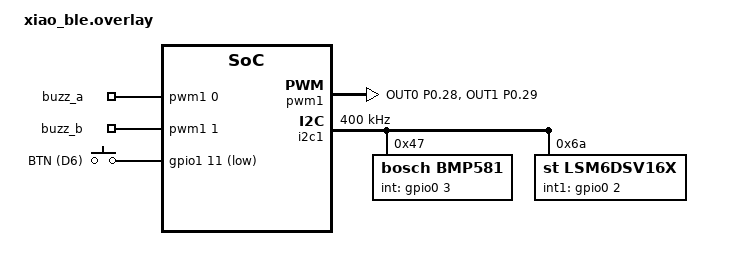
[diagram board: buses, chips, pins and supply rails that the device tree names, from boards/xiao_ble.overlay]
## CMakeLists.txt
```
cmake_minimum_required(VERSION 3.20.0)

find_package(Zephyr REQUIRED HINTS $ENV{ZEPHYR_BASE})
project(airio)

target_sources(app PRIVATE
  src/main.c
  src/vario.c
  src/tone.c
  src/beeper.c
)

if(CONFIG_ARCH_POSIX)
  # native_sim: synthetic flight instead of real sensors.
  target_sources(app PRIVATE src/baro_sim.c)
else()
  target_sources(app PRIVATE src/baro_bmp581.c src/imu.c)
endif()
```

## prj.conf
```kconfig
CONFIG_LOG=y
CONFIG_CBPRINTF_FP_SUPPORT=y
CONFIG_MAIN_STACK_SIZE=2048
```

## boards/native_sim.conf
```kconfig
# Synthetic baro uses rand().
CONFIG_REQUIRES_FULL_LIBC=y
```

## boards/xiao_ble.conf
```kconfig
CONFIG_FPU=y
CONFIG_I2C=y
CONFIG_SENSOR=y
CONFIG_PWM=y
# The LSM6DSV16X driver in Zephyr v4.4.2 fails to build when I2C_RTIO is on
# (the BMP581 driver selects it) but LSM6DSV16X_STREAM is off. Enabling the
# async sensor API turns streaming on, which we want for FIFO reads later.
CONFIG_SENSOR_ASYNC_API=y
```

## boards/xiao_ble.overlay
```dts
/*
 * airio v0 carrier board on a Seeed XIAO nRF52840.
 * Pin map: docs/airio-parts-and-pinmap.md
 */

#include <zephyr/dt-bindings/input/input-event-codes.h>
#include <zephyr/dt-bindings/sensor/bmp581.h>
#include <zephyr/dt-bindings/sensor/lsm6dsv16x.h>

/ {
	aliases {
		baro = &bmp581;
		imu = &lsm6dsv16x;
		sw0 = &btn;
	};

	zephyr,user {
		/* BZ1 between D2 and D3; B is inverted so the piezo sees 2x swing. */
		pwms = <&pwm1 0 PWM_HZ(1000) PWM_POLARITY_NORMAL>,
		       <&pwm1 1 PWM_HZ(1000) PWM_POLARITY_INVERTED>;
		pwm-names = "buzz_a", "buzz_b";
	};

	buttons {
		compatible = "gpio-keys";

		btn: btn {
			gpios = <&gpio1 11 (GPIO_PULL_UP | GPIO_ACTIVE_LOW)>;
			label = "BTN (D6)";
			zephyr,code = <INPUT_KEY_0>;
		};
	};
};

&pinctrl {
	pwm1_default: pwm1_default {
		group1 {
			psels = <NRF_PSEL(PWM_OUT0, 0, 28)>,
				<NRF_PSEL(PWM_OUT1, 0, 29)>;
		};
	};

	pwm1_sleep: pwm1_sleep {
		group1 {
			psels = <NRF_PSEL(PWM_OUT0, 0, 28)>,
				<NRF_PSEL(PWM_OUT1, 0, 29)>;
			low-power-enable;
		};
	};
};

&pwm1 {
	status = "okay";
	pinctrl-0 = <&pwm1_default>;
	pinctrl-1 = <&pwm1_sleep>;
	pinctrl-names = "default", "sleep";
};

/* D6 is the button, so the default UART on D6/D7 is off. Logs go over USB. */
&uart0 {
	status = "disabled";
};

/* D4 (SDA) / D5 (SCL) */
&i2c1 {
	clock-frequency = <I2C_BITRATE_FAST>;

	bmp581: bmp581@47 {
		compatible = "bosch,bmp581";
		reg = <0x47>;
		int-gpios = <&gpio0 3 GPIO_ACTIVE_HIGH>;
		odr = <BMP581_DT_ODR_50_HZ>;
		press-osr = <BMP581_DT_OVERSAMPLING_16X>;
		temp-osr = <BMP581_DT_OVERSAMPLING_2X>;
		press-iir = <BMP581_DT_IIR_FILTER_BYPASS>;
	};

	lsm6dsv16x: lsm6dsv16x@6a {
		compatible = "st,lsm6dsv16x";
		reg = <0x6a>;
		int1-gpios = <&gpio0 2 GPIO_ACTIVE_HIGH>;
		drdy-pin = <1>;
		accel-range = <LSM6DSV16X_DT_FS_4G>;
		accel-odr = <LSM6DSVXXX_DT_ODR_AT_60Hz>;
		gyro-range = <LSM6DSV16X_DT_FS_500DPS>;
		gyro-odr = <LSM6DSVXXX_DT_ODR_AT_60Hz>;
	};
};
```

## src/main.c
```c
/*
 * airio: small BLE vario on a Seeed XIAO nRF52840.
 *
 * v0 loop: read the baro at 50 Hz, run the climb-rate filter, and map the
 * climb rate to the beeper. The IMU is brought up but not fused yet.
 */

#include "baro.h"
#include "beeper.h"
#include "tone.h"
#include "vario.h"

#include <zephyr/kernel.h>
#include <zephyr/logging/log.h>

#if DT_NODE_EXISTS(DT_ALIAS(imu))
#include "imu.h"
#endif

LOG_MODULE_REGISTER(airio, LOG_LEVEL_INF);

#define SAMPLE_HZ      50
#define SAMPLE_PERIOD  K_MSEC(1000 / SAMPLE_HZ)
#define REPORT_EVERY   SAMPLE_HZ /* once a second */
#define WARMUP_SAMPLES (2 * SAMPLE_HZ) /* stay silent while the filter settles */

/* Filter tuning: about 0.3 m/s^2 of pilot vertical acceleration, 0.15 m baro noise. */
#define ACCEL_NOISE 0.3f
#define BARO_NOISE  0.15f

static K_TIMER_DEFINE(sample_timer, NULL, NULL);

int main(void)
{
	struct vario_filter filter;
	const struct tone_config tone_cfg = TONE_CONFIG_DEFAULT;
	struct tone t;
	float pressure_pa;
	uint32_t n = 0;

	LOG_INF("airio starting");

	if (baro_init() < 0 || beeper_init() < 0) {
		return 0;
	}

#if DT_NODE_EXISTS(DT_ALIAS(imu))
	(void)imu_init();
#endif

	vario_init(&filter, ACCEL_NOISE, BARO_NOISE);
	k_timer_start(&sample_timer, SAMPLE_PERIOD, SAMPLE_PERIOD);

	while (true) {
		k_timer_status_sync(&sample_timer);

		if (baro_read(&pressure_pa) < 0) {
			continue;
		}

		vario_update(&filter, vario_pressure_to_altitude(pressure_pa),
			     1.0f / SAMPLE_HZ);

		if (++n <= WARMUP_SAMPLES) {
			continue;
		}

		tone_for_climb(&tone_cfg, vario_climb(&filter), &t);
		beeper_set(&t);

		if (n % REPORT_EVERY == 0) {
			LOG_INF("alt %.1f m, climb %+.2f m/s", (double)vario_altitude(&filter),
				(double)vario_climb(&filter));
#if DT_NODE_EXISTS(DT_ALIAS(imu))
			imu_log();
#endif
		}
	}

	return 0;
}
```

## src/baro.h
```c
/*
 * Barometer source. On hardware this is the BMP581 (or BMP580) on i2c1; on
 * native_sim it is a synthetic flight so the whole app runs without a board.
 */

#ifndef AIRIO_BARO_H_
#define AIRIO_BARO_H_

int baro_init(void);

/* Read the latest pressure in Pa. Call at the vario sample rate. */
int baro_read(float *pressure_pa);

#endif /* AIRIO_BARO_H_ */
```

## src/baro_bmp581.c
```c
#include "baro.h"

#include <errno.h>
#include <zephyr/device.h>
#include <zephyr/drivers/sensor.h>
#include <zephyr/logging/log.h>

LOG_MODULE_REGISTER(baro, LOG_LEVEL_INF);

static const struct device *const baro = DEVICE_DT_GET(DT_ALIAS(baro));

int baro_init(void)
{
	if (!device_is_ready(baro)) {
		LOG_ERR("%s not ready", baro->name);
		return -ENODEV;
	}

	LOG_INF("baro: %s", baro->name);
	return 0;
}

int baro_read(float *pressure_pa)
{
	struct sensor_value press;
	int ret;

	ret = sensor_sample_fetch(baro);
	if (ret < 0) {
		return ret;
	}

	ret = sensor_channel_get(baro, SENSOR_CHAN_PRESS, &press);
	if (ret < 0) {
		return ret;
	}

	/* SENSOR_CHAN_PRESS is in kPa. */
	*pressure_pa = (float)(sensor_value_to_double(&press) * 1000.0);
	return 0;
}
```

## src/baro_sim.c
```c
/*
 * Synthetic baro for native_sim: a repeating flight of a thermal climb, a
 * glide and a sink, with baro-like noise added, so the filter and beeper
 * logic can be exercised without hardware.
 */

#include "baro.h"
#include "vario.h"

#include <stdlib.h>
#include <zephyr/kernel.h>
#include <zephyr/logging/log.h>

LOG_MODULE_REGISTER(baro_sim, LOG_LEVEL_INF);

#define START_ALT_M  1000.0f
#define NOISE_SIGMA_M 0.15f

struct segment {
	uint32_t duration_ms;
	float climb_ms;
};

static const struct segment flight[] = {
	{10000, 0.0f},  /* on launch */
	{20000, 1.5f},  /* weak thermal */
	{15000, 3.0f},  /* core */
	{20000, -1.0f}, /* glide */
	{10000, -3.0f}, /* sink */
};

static float alt_m = START_ALT_M;
static int64_t last_ms;

static uint32_t flight_duration_ms(void)
{
	uint32_t total = 0;

	for (size_t i = 0; i < ARRAY_SIZE(flight); i++) {
		total += flight[i].duration_ms;
	}
	return total;
}

static float climb_at(uint32_t t_ms)
{
	t_ms %= flight_duration_ms();

	for (size_t i = 0; i < ARRAY_SIZE(flight); i++) {
		if (t_ms < flight[i].duration_ms) {
			return flight[i].climb_ms;
		}
		t_ms -= flight[i].duration_ms;
	}
	return 0.0f;
}

/* Roughly Gaussian noise from the sum of uniform samples. */
static float noise(float sigma)
{
	float sum = 0.0f;

	for (int i = 0; i < 12; i++) {
		sum += (float)rand() / (float)RAND_MAX;
	}
	return (sum - 6.0f) * sigma;
}

int baro_init(void)
{
	srand(1);
	last_ms = k_uptime_get();
	LOG_INF("baro: synthetic flight, %u s loop", flight_duration_ms() / 1000);
	return 0;
}

int baro_read(float *pressure_pa)
{
	int64_t now = k_uptime_get();
	float dt = (float)(now - last_ms) / 1000.0f;

	alt_m += climb_at((uint32_t)now) * dt;
	last_ms = now;

	*pressure_pa = vario_altitude_to_pressure(alt_m + noise(NOISE_SIGMA_M));
	return 0;
}
```

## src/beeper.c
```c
#include "beeper.h"

#include <errno.h>
#include <zephyr/kernel.h>
#include <zephyr/logging/log.h>

LOG_MODULE_REGISTER(beeper, LOG_LEVEL_INF);

#define BEEPER_NODE DT_PATH(zephyr_user)
#define HAS_PWM     DT_NODE_HAS_PROP(BEEPER_NODE, pwms)

#if HAS_PWM
#include <zephyr/drivers/pwm.h>

static const struct pwm_dt_spec buzz_a = PWM_DT_SPEC_GET_BY_NAME(BEEPER_NODE, buzz_a);
static const struct pwm_dt_spec buzz_b = PWM_DT_SPEC_GET_BY_NAME(BEEPER_NODE, buzz_b);
#endif

/* Idle poll interval while silent, so a new tone starts promptly. */
#define IDLE_MS 20

static K_MUTEX_DEFINE(tone_lock);
static struct tone current;

static void get_tone(struct tone *t)
{
	k_mutex_lock(&tone_lock, K_FOREVER);
	*t = current;
	k_mutex_unlock(&tone_lock);
}

static void output(uint16_t freq_hz)
{
#if HAS_PWM
	if (freq_hz == 0) {
		pwm_set_pulse_dt(&buzz_a, 0);
		pwm_set_pulse_dt(&buzz_b, 0);
		return;
	}

	uint32_t period_ns = NSEC_PER_SEC / freq_hz;

	/* B is inverted in devicetree, so the piezo sees twice the swing. */
	pwm_set_dt(&buzz_a, period_ns, period_ns / 2);
	pwm_set_dt(&buzz_b, period_ns, period_ns / 2);
#else
	ARG_UNUSED(freq_hz);
#endif
}

static const char *mode_name(const struct tone *t)
{
	if (t->freq_hz == 0) {
		return "silent";
	}
	return t->off_ms == 0 ? "sink" : "lift";
}

void beeper_set(const struct tone *t)
{
	k_mutex_lock(&tone_lock, K_FOREVER);
	if (mode_name(t) != mode_name(&current)) {
		LOG_INF("%s, %u Hz", mode_name(t), t->freq_hz);
	}
	current = *t;
	k_mutex_unlock(&tone_lock);
}

static void beeper_thread(void *p1, void *p2, void *p3)
{
	ARG_UNUSED(p1);
	ARG_UNUSED(p2);
	ARG_UNUSED(p3);

	struct tone t;

	while (true) {
		get_tone(&t);

		if (t.freq_hz == 0) {
			output(0);
			k_msleep(IDLE_MS);
		} else if (t.off_ms == 0) {
			output(t.freq_hz);
			k_msleep(IDLE_MS);
		} else {
			output(t.freq_hz);
			k_msleep(t.on_ms);
			output(0);
			k_msleep(t.off_ms);
		}
	}
}

K_THREAD_DEFINE(beeper_tid, 1024, beeper_thread, NULL, NULL, NULL, 5, 0, 0);

int beeper_init(void)
{
#if HAS_PWM
	if (!pwm_is_ready_dt(&buzz_a) || !pwm_is_ready_dt(&buzz_b)) {
		LOG_ERR("beeper PWM not ready");
		return -ENODEV;
	}
#endif
	return 0;
}
```

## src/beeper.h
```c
/*
 * Piezo beeper. On hardware it drives BZ1 differentially from two PWM
 * channels (one inverted) on D2/D3; on native_sim it logs tone changes.
 */

#ifndef AIRIO_BEEPER_H_
#define AIRIO_BEEPER_H_

#include "tone.h"

int beeper_init(void);

/* Change the pattern; the beeper thread picks it up on its next cycle. */
void beeper_set(const struct tone *t);

#endif /* AIRIO_BEEPER_H_ */
```

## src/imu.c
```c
#include "imu.h"

#include <errno.h>
#include <zephyr/device.h>
#include <zephyr/drivers/sensor.h>
#include <zephyr/logging/log.h>

LOG_MODULE_REGISTER(imu, LOG_LEVEL_INF);

static const struct device *const imu = DEVICE_DT_GET(DT_ALIAS(imu));

int imu_init(void)
{
	if (!device_is_ready(imu)) {
		LOG_ERR("%s not ready", imu->name);
		return -ENODEV;
	}

	LOG_INF("imu: %s", imu->name);
	return 0;
}

void imu_log(void)
{
	struct sensor_value accel[3];

	if (!device_is_ready(imu) || sensor_sample_fetch_chan(imu, SENSOR_CHAN_ACCEL_XYZ) < 0 ||
	    sensor_channel_get(imu, SENSOR_CHAN_ACCEL_XYZ, accel) < 0) {
		return;
	}

	LOG_INF("accel %.2f %.2f %.2f m/s^2", sensor_value_to_double(&accel[0]),
		sensor_value_to_double(&accel[1]), sensor_value_to_double(&accel[2]));
}
```

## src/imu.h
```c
/*
 * LSM6DSV16X bring-up. Fusing vertical acceleration into the climb-rate
 * filter is the next step; for now the IMU is checked and logged.
 */

#ifndef AIRIO_IMU_H_
#define AIRIO_IMU_H_

int imu_init(void);

/* Log the current accelerometer reading. */
void imu_log(void);

#endif /* AIRIO_IMU_H_ */
```

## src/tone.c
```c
#include "tone.h"

/* Lift: pitch rises and beeps get faster with climb. */
#define LIFT_BASE_HZ      700.0f
#define LIFT_HZ_PER_MS    100.0f
#define LIFT_MAX_HZ       1600.0f
#define LIFT_CYCLE_MAX_MS 600.0f
#define LIFT_CYCLE_MIN_MS 150.0f
#define LIFT_CYCLE_MS_PER_MS 75.0f

/* Sink: continuous low tone that drops with sink rate. */
#define SINK_BASE_HZ   400.0f
#define SINK_HZ_PER_MS 40.0f
#define SINK_MIN_HZ    200.0f

static float clampf(float v, float lo, float hi)
{
	return v < lo ? lo : (v > hi ? hi : v);
}

void tone_for_climb(const struct tone_config *cfg, float climb_ms, struct tone *out)
{
	if (climb_ms >= cfg->lift_threshold) {
		float freq = clampf(LIFT_BASE_HZ + LIFT_HZ_PER_MS * climb_ms, LIFT_BASE_HZ,
				    LIFT_MAX_HZ);
		float cycle = clampf(LIFT_CYCLE_MAX_MS - LIFT_CYCLE_MS_PER_MS * climb_ms,
				     LIFT_CYCLE_MIN_MS, LIFT_CYCLE_MAX_MS);

		out->freq_hz = (uint16_t)freq;
		out->on_ms = (uint16_t)(cycle / 2.0f);
		out->off_ms = (uint16_t)(cycle - cycle / 2.0f);
	} else if (climb_ms <= cfg->sink_threshold) {
		float freq = clampf(SINK_BASE_HZ + SINK_HZ_PER_MS * (climb_ms - cfg->sink_threshold),
				    SINK_MIN_HZ, SINK_BASE_HZ);

		out->freq_hz = (uint16_t)freq;
		out->on_ms = 0;
		out->off_ms = 0;
	} else {
		out->freq_hz = 0;
		out->on_ms = 0;
		out->off_ms = 0;
	}
}
```

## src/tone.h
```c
/*
 * Maps climb rate to the beeper pattern. Pure C, no Zephyr dependencies.
 */

#ifndef AIRIO_TONE_H_
#define AIRIO_TONE_H_

#include <stdint.h>

#ifdef __cplusplus
extern "C" {
#endif

struct tone {
	uint16_t freq_hz; /* 0 = silent */
	uint16_t on_ms;
	uint16_t off_ms;  /* 0 = continuous tone */
};

struct tone_config {
	float lift_threshold; /* m/s, beeping starts at or above this */
	float sink_threshold; /* m/s, sink tone starts at or below this (negative) */
};

#define TONE_CONFIG_DEFAULT {.lift_threshold = 0.1f, .sink_threshold = -2.0f}

void tone_for_climb(const struct tone_config *cfg, float climb_ms, struct tone *out);

#ifdef __cplusplus
}
#endif

#endif /* AIRIO_TONE_H_ */
```

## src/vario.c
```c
#include "vario.h"

#include <math.h>

#define ISA_P0_PA    101325.0f
#define ISA_EXPONENT 0.190263f /* 1 / 5.25588 */
#define ISA_SCALE_M  44330.8f

void vario_init(struct vario_filter *f, float accel_noise, float baro_noise)
{
	f->alt = 0.0f;
	f->vel = 0.0f;
	f->p[0][0] = 1.0f;
	f->p[0][1] = 0.0f;
	f->p[1][0] = 0.0f;
	f->p[1][1] = 1.0f;
	f->q = accel_noise * accel_noise;
	f->r = baro_noise * baro_noise;
	f->initialised = false;
}

void vario_update(struct vario_filter *f, float alt_m, float dt_s)
{
	if (!f->initialised) {
		f->alt = alt_m;
		f->vel = 0.0f;
		f->initialised = true;
		return;
	}

	/* Predict with a constant-velocity model driven by white acceleration. */
	float dt2 = dt_s * dt_s;
	float dt3 = dt2 * dt_s;
	float dt4 = dt3 * dt_s;

	f->alt += f->vel * dt_s;

	float p00 = f->p[0][0] + dt_s * (f->p[1][0] + f->p[0][1]) + dt2 * f->p[1][1] +
		    f->q * dt4 / 4.0f;
	float p01 = f->p[0][1] + dt_s * f->p[1][1] + f->q * dt3 / 2.0f;
	float p10 = f->p[1][0] + dt_s * f->p[1][1] + f->q * dt3 / 2.0f;
	float p11 = f->p[1][1] + f->q * dt2;

	/* Correct with the baro altitude. */
	float y = alt_m - f->alt;
	float s = p00 + f->r;
	float k0 = p00 / s;
	float k1 = p10 / s;

	f->alt += k0 * y;
	f->vel += k1 * y;

	f->p[0][0] = (1.0f - k0) * p00;
	f->p[0][1] = (1.0f - k0) * p01;
	f->p[1][0] = p10 - k1 * p00;
	f->p[1][1] = p11 - k1 * p01;
}

float vario_pressure_to_altitude(float pressure_pa)
{
	return ISA_SCALE_M * (1.0f - powf(pressure_pa / ISA_P0_PA, ISA_EXPONENT));
}

float vario_altitude_to_pressure(float alt_m)
{
	return ISA_P0_PA * powf(1.0f - alt_m / ISA_SCALE_M, 1.0f / ISA_EXPONENT);
}
```

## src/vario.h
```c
/*
 * Climb-rate filter: a two-state (altitude, vertical speed) Kalman filter
 * fed with barometric altitude. Pure C with no Zephyr dependencies so it can
 * be unit tested and replayed against recorded flights on a host.
 */

#ifndef AIRIO_VARIO_H_
#define AIRIO_VARIO_H_

#include <stdbool.h>

#ifdef __cplusplus
extern "C" {
#endif

struct vario_filter {
	float alt;      /* m */
	float vel;      /* m/s, positive up */
	float p[2][2];  /* state covariance */
	float q;        /* process noise: vertical acceleration variance, (m/s^2)^2 */
	float r;        /* measurement noise: baro altitude variance, m^2 */
	bool initialised;
};

/*
 * accel_noise: expected vertical acceleration of the pilot, 1 sigma (m/s^2).
 *              Larger values make the vario react faster but noisier.
 * baro_noise:  baro altitude noise, 1 sigma (m).
 */
void vario_init(struct vario_filter *f, float accel_noise, float baro_noise);

/* Feed one baro altitude sample taken dt seconds after the previous one. */
void vario_update(struct vario_filter *f, float alt_m, float dt_s);

static inline float vario_climb(const struct vario_filter *f)
{
	return f->vel;
}

static inline float vario_altitude(const struct vario_filter *f)
{
	return f->alt;
}

/* ISA pressure altitude (m) for a pressure in Pa, against a 1013.25 hPa datum. */
float vario_pressure_to_altitude(float pressure_pa);

/* Inverse of vario_pressure_to_altitude(). */
float vario_altitude_to_pressure(float alt_m);

#ifdef __cplusplus
}
#endif

#endif /* AIRIO_VARIO_H_ */
```
